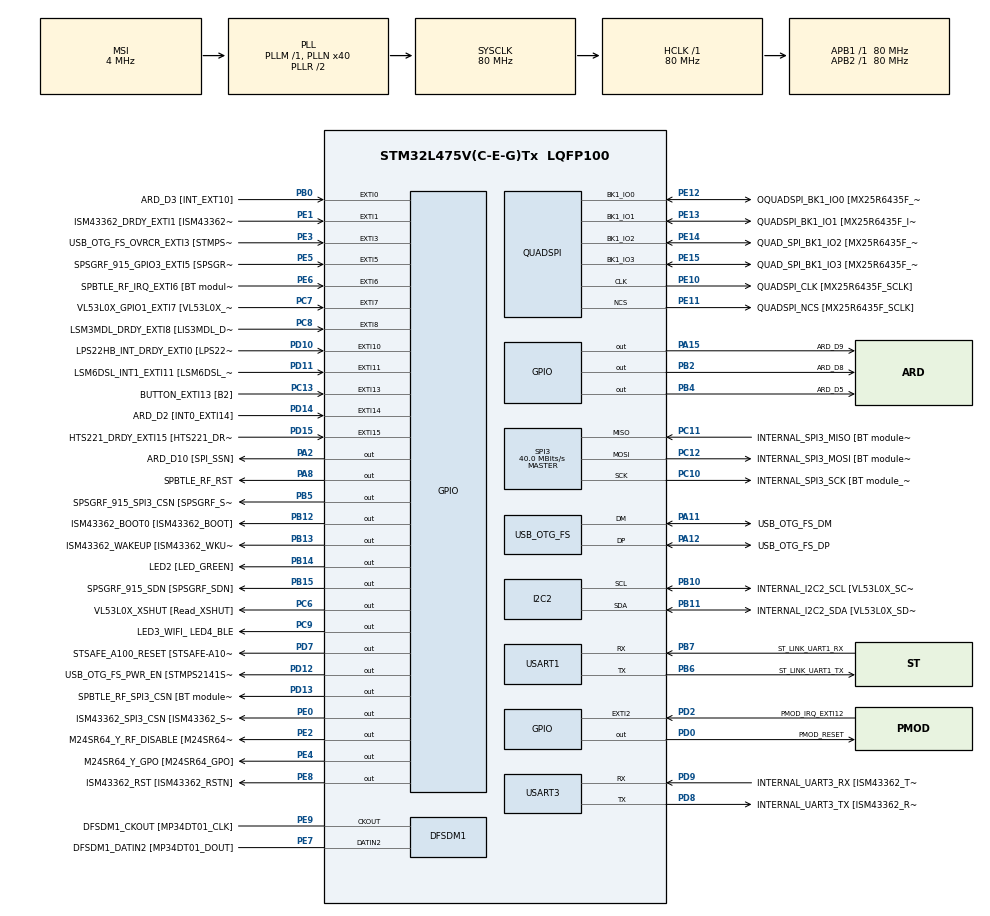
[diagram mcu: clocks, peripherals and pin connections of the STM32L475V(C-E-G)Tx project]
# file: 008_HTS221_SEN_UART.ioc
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Mcu.Family=STM32L4
Mcu.Name=STM32L475V(C-E-G)Tx
Mcu.Package=LQFP100
NVIC.EXTI15_10_IRQn=true\:0\:0\:false\:false\:true\:true\:true\:true
NVIC.EXTI9_5_IRQn=true\:0\:0\:false\:false\:true\:true\:true\:true
NVIC.PriorityGroup=NVIC_PRIORITYGROUP_4
PA0.GPIO_Label=ARD_D1 [UART4_TX]
PA0.Signal=UART4_TX
PA1.GPIO_Label=ARD_D0 [UART4_RX]
PA1.Signal=UART4_RX
PA10.GPIO_Label=USB_OTG_FS_ID
PA10.Signal=USB_OTG_FS_ID
PA11.GPIO_Label=USB_OTG_FS_DM
PA11.Mode=Device_Only
PA11.Signal=USB_OTG_FS_DM
PA12.GPIO_Label=USB_OTG_FS_DP
PA12.Mode=Device_Only
PA12.Signal=USB_OTG_FS_DP
PA13\ (JTMS-SWDIO).GPIO_Label=SYS_JTMS_SWDIO
PA13\ (JTMS-SWDIO).Mode=Serial_Wire
PA13\ (JTMS-SWDIO).Signal=SYS_JTMS-SWDIO
PA14\ (JTCK-SWCLK).GPIO_Label=SYS_JTCK_SWCLK
PA14\ (JTCK-SWCLK).Mode=Serial_Wire
PA14\ (JTCK-SWCLK).Signal=SYS_JTCK-SWCLK
PA15\ (JTDI).GPIO_Label=ARD_D9
PA15\ (JTDI).Signal=GPIO_Output
PA2.GPIO_Label=ARD_D10 [SPI_SSN]
PA2.Signal=GPIO_Output
PA3.GPIO_Label=ARD_D4
PA3.Signal=S_TIM2_CH4
PA4.GPIO_Label=ARD_D7
PA4.Signal=ADCx_IN9
PA5.GPIO_Label=ARD_D13 [SPI1_SCK]
PA5.Signal=SPI1_SCK
PA6.GPIO_Label=ARD_D12 [SPI1_MISO]
PA6.Signal=SPI1_MISO
PA7.GPIO_Label=ARD_D11 [SPI1_MOSI]
PA7.Signal=SPI1_MOSI
PA8.GPIO_Label=SPBTLE_RF_RST
PA8.Signal=GPIO_Output
PA9.GPIO_Label=USB_OTG_FS_VBUS [STMPS2141STR_OUT]
PA9.Signal=USB_OTG_FS_VBUS
PB0.GPIO_Label=ARD_D3 [INT_EXT10]
PB0.Signal=GPXTI0
PB1.GPIO_Label=ARD_D6 [ADC1_IN6]
PB1.Signal=ADCx_IN16
PB10.GPIO_Label=INTERNAL_I2C2_SCL [VL53L0X_SCL]
PB10.GPIO_Pu=GPIO_PULLUP
PB10.Mode=I2C
PB10.Signal=I2C2_SCL
PB11.GPIO_Label=INTERNAL_I2C2_SDA [VL53L0X_SDA]
PB11.GPIO_Pu=GPIO_PULLUP
PB11.Mode=I2C
PB11.Signal=I2C2_SDA
PB12.GPIO_Label=ISM43362_BOOT0 [ISM43362_BOOT]
PB12.Signal=GPIO_Output
PB13.GPIO_Label=ISM43362_WAKEUP [ISM43362_WKUP]
PB13.Signal=GPIO_Output
PB14.GPIO_Label=LED2 [LED_GREEN]
PB14.Signal=GPIO_Output
PB15.GPIO_Label=SPSGRF_915_SDN [SPSGRF_SDN]
PB15.Signal=GPIO_Output
PB2.GPIO_Label=ARD_D8
PB2.Signal=GPIO_Output
PB3\ (JTDO-TRACESWO).GPIO_Label=SYS_JTD0_SWO
PB3\ (JTDO-TRACESWO).Signal=SYS_JTDO-SWO
PB4\ (NJTRST).GPIO_Label=ARD_D5
PB4\ (NJTRST).Signal=GPIO_Output
PB5.GPIO_Label=SPSGRF_915_SPI3_CSN [SPSGRF_SPI_CS]
PB5.PinState=GPIO_PIN_SET
PB5.Signal=GPIO_Output
PB6.GPIO_Label=ST_LINK_UART1_TX
PB6.Mode=Asynchronous
PB6.Signal=USART1_TX
PB7.GPIO_Label=ST_LINK_UART1_RX
PB7.Mode=Asynchronous
PB7.Signal=USART1_RX
PB8.GPIO_Label=ARD_D15 [I2C1_SCL]
PB8.Signal=I2C1_SCL
PB9.GPIO_Label=ARD_D14 [I2C1_SDA]
PB9.Signal=I2C1_SDA
PC0.GPIO_Label=ARD_A5 [ADC]
PC0.Signal=ADCx_IN1
PC1.GPIO_Label=ARD_A4 [ADC]
PC1.Signal=ADCx_IN2
PC10.GPIO_Label=INTERNAL_SPI3_SCK [BT module_SPI_SCLK] [ISM43362_SCK]
PC10.Mode=Full_Duplex_Master
PC10.Signal=SPI3_SCK
PC11.GPIO_Label=INTERNAL_SPI3_MISO [BT module_SPI_MISO] [ISM43362_MISO]
PC11.Mode=Full_Duplex_Master
PC11.Signal=SPI3_MISO
PC12.GPIO_Label=INTERNAL_SPI3_MOSI [BT module_SPI_MOSI] [ISM43362_MOSI]
PC12.Mode=Full_Duplex_Master
PC12.Signal=SPI3_MOSI
PC13.GPIO_Label=BUTTON_EXTI13 [B2]
PC13.GPIO_ModeDefaultEXTI=GPIO_MODE_IT_FALLING
PC13.Signal=GPXTI13
PC14-OSC32_IN\ (PC14).Mode=LSE-External-Oscillator
PC14-OSC32_IN\ (PC14).Signal=RCC_OSC32_IN
PC15-OSC32_OUT\ (PC15).Mode=LSE-External-Oscillator
PC15-OSC32_OUT\ (PC15).Signal=RCC_OSC32_OUT
PC2.GPIO_Label=ARD_A3 [ADC]
PC2.Signal=ADCx_IN3
PC3.GPIO_Label=ARD_A2 [ADC]
PC3.Signal=ADCx_IN4
PC4.GPIO_Label=ARD_A1 [ADC]
PC4.Signal=ADCx_IN13
PC5.GPIO_Label=ARD_A0 [ADC]
PC5.Signal=ADCx_IN14
PC6.GPIO_Label=VL53L0X_XSHUT [Read_XSHUT]
PC6.Signal=GPIO_Output
PC7.GPIO_Label=VL53L0X_GPIO1_EXTI7 [VL53L0X_GPIO1]
PC7.Signal=GPXTI7
PC8.GPIO_Label=LSM3MDL_DRDY_EXTI8 [LIS3MDL_DRDY]
PC8.Signal=GPXTI8
PC9.GPIO_Label=LED3_WIFI_ LED4_BLE
PC9.Signal=GPIO_Output
PD0.GPIO_Label=PMOD_RESET
PD0.Signal=GPIO_Output
PD1.GPIO_Label=PMOD_SPI2_SCK
PD1.Signal=SPI2_SCK
PD10.GPIO_Label=LPS22HB_INT_DRDY_EXTI0 [LPS22HB_INT_DRDY] 
PD10.Signal=GPXTI10
PD11.GPIO_Label=LSM6DSL_INT1_EXTI11 [LSM6DSL_INT1]
PD11.Signal=GPXTI11
PD12.GPIO_Label=USB_OTG_FS_PWR_EN [STMPS2141STR_EN]
PD12.Signal=GPIO_Output
PD13.GPIO_Label=SPBTLE_RF_SPI3_CSN [BT module_SPI_CS]
PD13.PinState=GPIO_PIN_SET
PD13.Signal=GPIO_Output
PD14.GPIO_Label=ARD_D2 [INT0_EXTI14]
PD14.Signal=GPXTI14
PD15.GPIO_Label=HTS221_DRDY_EXTI15 [HTS221_DRDY]
PD15.Signal=GPXTI15
PD2.GPIO_Label=PMOD_IRQ_EXTI12
PD2.Signal=GPXTI2
PD3.GPIO_Label=PMOD_UART2_CTS
PD3.Signal=USART2_CTS
PD4.GPIO_Label=PMOD_UART2_RTS
PD4.Signal=USART2_RTS
PD5.GPIO_Label=PMOD_UART2_TX
PD5.Signal=USART2_TX
PD6.GPIO_Label=PMOD_UART2_RX
PD6.Signal=USART2_RX
PD7.GPIO_Label=STSAFE_A100_RESET [STSAFE-A100_RESET]
PD7.Signal=GPIO_Output
PD8.GPIO_Label=INTERNAL_UART3_TX [ISM43362_RX]
PD8.Mode=Asynchronous
PD8.Signal=USART3_TX
PD9.GPIO_Label=INTERNAL_UART3_RX [ISM43362_TX]
PD9.Mode=Asynchronous
PD9.Signal=USART3_RX
PE0.GPIO_Label=ISM43362_SPI3_CSN [ISM43362_SSN]
PE0.PinState=GPIO_PIN_SET
PE0.Signal=GPIO_Output
PE1.GPIO_Label=ISM43362_DRDY_EXTI1 [ISM43362_DATARDY]
PE1.Signal=GPXTI1
PE10.GPIO_Label=QUADSPI_CLK [MX25R6435F_SCLK]
PE10.Mode=Single Bank
PE10.Signal=QUADSPI_CLK
PE11.GPIO_Label=QUADSPI_NCS [MX25R6435F_SCLK]
PE11.Mode=Single Bank
PE11.Signal=QUADSPI_NCS
PE12.GPIO_Label=OQUADSPI_BK1_IO0 [MX25R6435F_IO0]
PE12.Mode=Single Bank
PE12.Signal=QUADSPI_BK1_IO0
PE13.GPIO_Label=QUADSPI_BK1_IO1 [MX25R6435F_IO1]
PE13.Mode=Single Bank
PE13.Signal=QUADSPI_BK1_IO1
PE14.GPIO_Label=QUAD_SPI_BK1_IO2 [MX25R6435F_IO2]
PE14.Mode=Single Bank
PE14.Signal=QUADSPI_BK1_IO2
PE15.GPIO_Label=QUAD_SPI_BK1_IO3 [MX25R6435F_IO3]
PE15.Mode=Single Bank
PE15.Signal=QUADSPI_BK1_IO3
PE2.GPIO_Label=M24SR64_Y_RF_DISABLE [M24SR64_RFDIS]
PE2.Signal=GPIO_Output
PE3.GPIO_Label=USB_OTG_FS_OVRCR_EXTI3 [STMPS2141STR_FAULT]
PE3.Signal=GPXTI3
PE4.GPIO_Label=M24SR64_Y_GPO [M24SR64_GPO]
PE4.Signal=GPIO_Output
PE5.GPIO_Label=SPSGRF_915_GPIO3_EXTI5 [SPSGRF_GPIO_3]
PE5.Signal=GPXTI5
PE6.GPIO_Label=SPBTLE_RF_IRQ_EXTI6 [BT module_SPI_IRQ]
PE6.Signal=GPXTI6
PE7.GPIO_Label=DFSDM1_DATIN2 [MP34DT01_DOUT]
PE7.Signal=S_DATAIN2DFSDM1
PE8.GPIO_Label=ISM43362_RST [ISM43362_RSTN]
PE8.Signal=GPIO_Output
PE9.GPIO_Label=DFSDM1_CKOUT [MP34DT01_CLK]
PE9.Signal=S_CKOUTDFSDM1
ProjectManager.HeapSize=0x200
ProjectManager.StackSize=0x400
ProjectManager.TargetToolchain=STM32CubeIDE
QUADSPI.ClockPrescaler=2
QUADSPI.FifoThreshold=4
QUADSPI.FlashSize=23
QUADSPI.SampleShifting=QSPI_SAMPLE_SHIFTING_HALFCYCLE
RCC.ADCFreq_Value=48000000
RCC.AHBFreq_Value=80000000
RCC.APB1Freq_Value=80000000
RCC.APB1TimFreq_Value=80000000
RCC.APB2Freq_Value=80000000
RCC.APB2TimFreq_Value=80000000
RCC.CortexFreq_Value=80000000
RCC.HCLKFreq_Value=80000000
RCC.HSE_VALUE=8000000
RCC.HSI_VALUE=16000000
RCC.MSI_VALUE=4000000
RCC.PLLN=40
RCC.PLLSAI1N=24
RCC.SYSCLKFreq_VALUE=80000000
RCC.SYSCLKSource=RCC_SYSCLKSOURCE_PLLCLK
RCC.USBFreq_Value=48000000
RCC.VCOOutputFreq_Value=160000000
SH.ADCx_IN1.0=ADC1_IN1
SH.ADCx_IN13.0=ADC1_IN13
SH.ADCx_IN14.0=ADC1_IN14
SH.ADCx_IN16.0=ADC1_IN16
SH.ADCx_IN2.0=ADC1_IN2
SH.ADCx_IN3.0=ADC1_IN3
SH.ADCx_IN4.0=ADC1_IN4
SH.ADCx_IN9.0=ADC1_IN9
SH.S_CKOUTDFSDM1.0=DFSDM1_CKOUT,CKOUT
SH.S_CKOUTDFSDM1.1=DFSDM1_CKOUT,PDM_SPI_Input_from_ch12_and_Internal_Clock
SH.S_DATAIN2DFSDM1.0=DFSDM1_DATIN2,PDM_SPI_Input_from_ch12_and_Internal_Clock
SH.S_TIM2_CH4.0=TIM2_CH4
SPI3.CalculateBaudRate=40.0 MBits/s
SPI3.Direction=SPI_DIRECTION_2LINES
SPI3.Mode=SPI_MODE_MASTER
SPI3.VirtualType=VM_MASTER
USART1.VirtualMode-Asynchronous=VM_ASYNC
USART3.VirtualMode-Asynchronous=VM_ASYNC
USB_OTG_FS.VirtualMode=Device_Only
board=B-L475E-IOT01A2

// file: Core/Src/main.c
/* USER CODE BEGIN Header */
// Accessing both the temperature value and Humidity value from the HTS221 sensor
/**
  ******************************************************************************
  * @file           : main.c
  * @brief          : Main program body
  ******************************************************************************
  * @attention
  *
  * Copyright (c) 2024 STMicroelectronics.
  * All rights reserved.
  *
  * This software is licensed under terms that can be found in the LICENSE file
  * in the root directory of this software component.
  * If no LICENSE file comes with this software, it is provided AS-IS.
  *
  ******************************************************************************
  */
/* USER CODE END Header */
#include "main.h"

/* USER CODE BEGIN Includes */
#include <stdio.h>
#include <math.h>
#include "stm32l475e_iot01.h"
// Humidity sensor
#include "stm32l475e_iot01_hsensor.h"
// Temperature sensor
#include "stm32l475e_iot01_tsensor.h"
/* USER CODE END Includes */

DFSDM_Channel_HandleTypeDef hdfsdm1_channel1;

I2C_HandleTypeDef hi2c2;

QSPI_HandleTypeDef hqspi;

SPI_HandleTypeDef hspi3;

UART_HandleTypeDef huart1;
UART_HandleTypeDef huart3;

PCD_HandleTypeDef hpcd_USB_OTG_FS;

/* USER CODE BEGIN PV */
uint8_t train[] = "                                          &&&&&&&&&\n\r                                        &&&\n\r                                       &&\n\r                                      &  _____ ___________\n\r                                     II__|[] | |   I I   |\n\r       @Balaji303                   |        |_|_  I I  _|\n\r                                   < OO----OOO   OO---OO\n\r**********************************************************\n\r";
float humidity_value = 0;  // Measured humidity value
float temperature_value = 0;  // Measured temperature value
char str_tmp[100] = ""; // Formatted message to display the temperature value
uint8_t msg0[] = "$$$$$$ A Project by @Balaji303 $$$$$$\n\n\r";
uint8_t msg1[] = "****** Temperature and Humidity values measurement ******\n\n\r";
uint8_t msg2[] = "=====> Initializing sensor HTS221 ...\r\n";
uint8_t msg3[] = "=====> Sensor HTS221 initialized \r\n ";
/* USER CODE END PV */

void SystemClock_Config(void);
static void MX_GPIO_Init(void);
static void MX_DFSDM1_Init(void);
static void MX_I2C2_Init(void);
static void MX_QUADSPI_Init(void);
static void MX_SPI3_Init(void);
static void MX_USART1_UART_Init(void);
static void MX_USART3_UART_Init(void);
static void MX_USB_OTG_FS_PCD_Init(void);

int main(void)
{

  /* MCU Configuration--------------------------------------------------------*/

  /* Reset of all peripherals, Initializes the Flash interface and the Systick. */
  HAL_Init();

  /* Configure the system clock */
  SystemClock_Config();

  /* Initialize all configured peripherals */
  MX_GPIO_Init();
  MX_DFSDM1_Init();
  MX_I2C2_Init();
  MX_QUADSPI_Init();
  MX_SPI3_Init();
  MX_USART1_UART_Init();
  MX_USART3_UART_Init();
  MX_USB_OTG_FS_PCD_Init();
  /* USER CODE BEGIN 2 */
  HAL_UART_Transmit(&huart1,train,sizeof(train),1000);
  HAL_Delay(100);
  HAL_UART_Transmit(&huart1,msg0,sizeof(msg0),1000);
  HAL_UART_Transmit(&huart1,msg1,sizeof(msg1),1000);
  HAL_Delay(100);
  HAL_UART_Transmit(&huart1,msg2,sizeof(msg2),1000);
  //1. Initialize temperature sensor
  BSP_TSENSOR_Init();
  //2. Initialize humidity sensor
  BSP_HSENSOR_Init();
  HAL_UART_Transmit(&huart1,msg3,sizeof(msg3),1000);
  //
  int temperatureWholeNumber = 0;
  int temperatureDecimalNumber = 0;
  float temperatureDifference_f = 0.0;
  int humidityWholeNumber = 0;
  int humidityDecimalNumber = 0;
  float humidityDifference_f = 0.0;
  /* USER CODE END 2 */

  /* Infinite loop */
  while (1)
  {
	  //3. Read Temperature value
	  temperature_value = BSP_TSENSOR_ReadTemp();
	  //4. Read Humidity value
	  humidity_value = BSP_HSENSOR_ReadHumidity();
	  // Converting a float variable into 2 integer variables for temperature
	  temperatureWholeNumber = temperature_value;
	  temperatureDifference_f = temperature_value - temperatureWholeNumber;
	  temperatureDecimalNumber = trunc(temperatureDifference_f * 100);
	  // Converting a float variable into 2 integer variables for humidity
	  humidityWholeNumber = humidity_value;
	  humidityDifference_f = humidity_value - humidityWholeNumber;
	  humidityDecimalNumber = trunc(humidityDifference_f * 100);
	  snprintf(str_tmp,100,"Temperature = %d.%02d ; Humidity = %d.%02d\n\r", temperatureWholeNumber, temperatureDecimalNumber, humidityWholeNumber, humidityDecimalNumber);
	  HAL_UART_Transmit(&huart1,( uint8_t *)str_tmp,sizeof(str_tmp),1000);
	  HAL_Delay(3000);
  }
}

void SystemClock_Config(void)
{
  RCC_OscInitTypeDef RCC_OscInitStruct = {0};
  RCC_ClkInitTypeDef RCC_ClkInitStruct = {0};

  /** Configure the main internal regulator output voltage
  */
  if (HAL_PWREx_ControlVoltageScaling(PWR_REGULATOR_VOLTAGE_SCALE1) != HAL_OK)
  {
    Error_Handler();
  }

  /** Configure LSE Drive Capability
  */
  HAL_PWR_EnableBkUpAccess();
  __HAL_RCC_LSEDRIVE_CONFIG(RCC_LSEDRIVE_LOW);

  /** Initializes the RCC Oscillators according to the specified parameters
  * in the RCC_OscInitTypeDef structure.
  */
  RCC_OscInitStruct.OscillatorType = RCC_OSCILLATORTYPE_LSE|RCC_OSCILLATORTYPE_MSI;
  RCC_OscInitStruct.LSEState = RCC_LSE_ON;
  RCC_OscInitStruct.MSIState = RCC_MSI_ON;
  RCC_OscInitStruct.MSICalibrationValue = 0;
  RCC_OscInitStruct.MSIClockRange = RCC_MSIRANGE_6;
  RCC_OscInitStruct.PLL.PLLState = RCC_PLL_ON;
  RCC_OscInitStruct.PLL.PLLSource = RCC_PLLSOURCE_MSI;
  RCC_OscInitStruct.PLL.PLLM = 1;
  RCC_OscInitStruct.PLL.PLLN = 40;
  RCC_OscInitStruct.PLL.PLLP = RCC_PLLP_DIV7;
  RCC_OscInitStruct.PLL.PLLQ = RCC_PLLQ_DIV2;
  RCC_OscInitStruct.PLL.PLLR = RCC_PLLR_DIV2;
  if (HAL_RCC_OscConfig(&RCC_OscInitStruct) != HAL_OK)
  {
    Error_Handler();
  }

  /** Initializes the CPU, AHB and APB buses clocks
  */
  RCC_ClkInitStruct.ClockType = RCC_CLOCKTYPE_HCLK|RCC_CLOCKTYPE_SYSCLK
                              |RCC_CLOCKTYPE_PCLK1|RCC_CLOCKTYPE_PCLK2;
  RCC_ClkInitStruct.SYSCLKSource = RCC_SYSCLKSOURCE_PLLCLK;
  RCC_ClkInitStruct.AHBCLKDivider = RCC_SYSCLK_DIV1;
  RCC_ClkInitStruct.APB1CLKDivider = RCC_HCLK_DIV1;
  RCC_ClkInitStruct.APB2CLKDivider = RCC_HCLK_DIV1;

  if (HAL_RCC_ClockConfig(&RCC_ClkInitStruct, FLASH_LATENCY_4) != HAL_OK)
  {
    Error_Handler();
  }

  /** Enable MSI Auto calibration
  */
  HAL_RCCEx_EnableMSIPLLMode();
}

static void MX_DFSDM1_Init(void)
{

  hdfsdm1_channel1.Instance = DFSDM1_Channel1;
  hdfsdm1_channel1.Init.OutputClock.Activation = ENABLE;
  hdfsdm1_channel1.Init.OutputClock.Selection = DFSDM_CHANNEL_OUTPUT_CLOCK_SYSTEM;
  hdfsdm1_channel1.Init.OutputClock.Divider = 2;
  hdfsdm1_channel1.Init.Input.Multiplexer = DFSDM_CHANNEL_EXTERNAL_INPUTS;
  hdfsdm1_channel1.Init.Input.DataPacking = DFSDM_CHANNEL_STANDARD_MODE;
  hdfsdm1_channel1.Init.Input.Pins = DFSDM_CHANNEL_FOLLOWING_CHANNEL_PINS;
  hdfsdm1_channel1.Init.SerialInterface.Type = DFSDM_CHANNEL_SPI_RISING;
  hdfsdm1_channel1.Init.SerialInterface.SpiClock = DFSDM_CHANNEL_SPI_CLOCK_INTERNAL;
  hdfsdm1_channel1.Init.Awd.FilterOrder = DFSDM_CHANNEL_FASTSINC_ORDER;
  hdfsdm1_channel1.Init.Awd.Oversampling = 1;
  hdfsdm1_channel1.Init.Offset = 0;
  hdfsdm1_channel1.Init.RightBitShift = 0x00;
  if (HAL_DFSDM_ChannelInit(&hdfsdm1_channel1) != HAL_OK)
  {
    Error_Handler();
  }

}

static void MX_I2C2_Init(void)
{

  hi2c2.Instance = I2C2;
  hi2c2.Init.Timing = 0x00000E14;
  hi2c2.Init.OwnAddress1 = 0;
  hi2c2.Init.AddressingMode = I2C_ADDRESSINGMODE_7BIT;
  hi2c2.Init.DualAddressMode = I2C_DUALADDRESS_DISABLE;
  hi2c2.Init.OwnAddress2 = 0;
  hi2c2.Init.OwnAddress2Masks = I2C_OA2_NOMASK;
  hi2c2.Init.GeneralCallMode = I2C_GENERALCALL_DISABLE;
  hi2c2.Init.NoStretchMode = I2C_NOSTRETCH_DISABLE;
  if (HAL_I2C_Init(&hi2c2) != HAL_OK)
  {
    Error_Handler();
  }

  /** Configure Analogue filter
  */
  if (HAL_I2CEx_ConfigAnalogFilter(&hi2c2, I2C_ANALOGFILTER_ENABLE) != HAL_OK)
  {
    Error_Handler();
  }

  /** Configure Digital filter
  */
  if (HAL_I2CEx_ConfigDigitalFilter(&hi2c2, 0) != HAL_OK)
  {
    Error_Handler();
  }

}

static void MX_QUADSPI_Init(void)
{

  /* QUADSPI parameter configuration*/
  hqspi.Instance = QUADSPI;
  hqspi.Init.ClockPrescaler = 2;
  hqspi.Init.FifoThreshold = 4;
  hqspi.Init.SampleShifting = QSPI_SAMPLE_SHIFTING_HALFCYCLE;
  hqspi.Init.FlashSize = 23;
  hqspi.Init.ChipSelectHighTime = QSPI_CS_HIGH_TIME_1_CYCLE;
  hqspi.Init.ClockMode = QSPI_CLOCK_MODE_0;
  if (HAL_QSPI_Init(&hqspi) != HAL_OK)
  {
    Error_Handler();
  }

}

static void MX_SPI3_Init(void)
{

  /* SPI3 parameter configuration*/
  hspi3.Instance = SPI3;
  hspi3.Init.Mode = SPI_MODE_MASTER;
  hspi3.Init.Direction = SPI_DIRECTION_2LINES;
  hspi3.Init.DataSize = SPI_DATASIZE_4BIT;
  hspi3.Init.CLKPolarity = SPI_POLARITY_LOW;
  hspi3.Init.CLKPhase = SPI_PHASE_1EDGE;
  hspi3.Init.NSS = SPI_NSS_SOFT;
  hspi3.Init.BaudRatePrescaler = SPI_BAUDRATEPRESCALER_2;
  hspi3.Init.FirstBit = SPI_FIRSTBIT_MSB;
  hspi3.Init.TIMode = SPI_TIMODE_DISABLE;
  hspi3.Init.CRCCalculation = SPI_CRCCALCULATION_DISABLE;
  hspi3.Init.CRCPolynomial = 7;
  hspi3.Init.CRCLength = SPI_CRC_LENGTH_DATASIZE;
  hspi3.Init.NSSPMode = SPI_NSS_PULSE_ENABLE;
  if (HAL_SPI_Init(&hspi3) != HAL_OK)
  {
    Error_Handler();
  }

}

static void MX_USART1_UART_Init(void)
{

  huart1.Instance = USART1;
  huart1.Init.BaudRate = 115200;
  huart1.Init.WordLength = UART_WORDLENGTH_8B;
  huart1.Init.StopBits = UART_STOPBITS_1;
  huart1.Init.Parity = UART_PARITY_NONE;
  huart1.Init.Mode = UART_MODE_TX_RX;
  huart1.Init.HwFlowCtl = UART_HWCONTROL_NONE;
  huart1.Init.OverSampling = UART_OVERSAMPLING_16;
  huart1.Init.OneBitSampling = UART_ONE_BIT_SAMPLE_DISABLE;
  huart1.AdvancedInit.AdvFeatureInit = UART_ADVFEATURE_NO_INIT;
  if (HAL_UART_Init(&huart1) != HAL_OK)
  {
    Error_Handler();
  }

}

static void MX_USART3_UART_Init(void)
{

  huart3.Instance = USART3;
  huart3.Init.BaudRate = 115200;
  huart3.Init.WordLength = UART_WORDLENGTH_8B;
  huart3.Init.StopBits = UART_STOPBITS_1;
  huart3.Init.Parity = UART_PARITY_NONE;
  huart3.Init.Mode = UART_MODE_TX_RX;
  huart3.Init.HwFlowCtl = UART_HWCONTROL_NONE;
  huart3.Init.OverSampling = UART_OVERSAMPLING_16;
  huart3.Init.OneBitSampling = UART_ONE_BIT_SAMPLE_DISABLE;
  huart3.AdvancedInit.AdvFeatureInit = UART_ADVFEATURE_NO_INIT;
  if (HAL_UART_Init(&huart3) != HAL_OK)
  {
    Error_Handler();
  }

}

static void MX_USB_OTG_FS_PCD_Init(void)
{

  hpcd_USB_OTG_FS.Instance = USB_OTG_FS;
  hpcd_USB_OTG_FS.Init.dev_endpoints = 6;
  hpcd_USB_OTG_FS.Init.speed = PCD_SPEED_FULL;
  hpcd_USB_OTG_FS.Init.phy_itface = PCD_PHY_EMBEDDED;
  hpcd_USB_OTG_FS.Init.Sof_enable = DISABLE;
  hpcd_USB_OTG_FS.Init.low_power_enable = DISABLE;
  hpcd_USB_OTG_FS.Init.lpm_enable = DISABLE;
  hpcd_USB_OTG_FS.Init.battery_charging_enable = DISABLE;
  hpcd_USB_OTG_FS.Init.use_dedicated_ep1 = DISABLE;
  hpcd_USB_OTG_FS.Init.vbus_sensing_enable = DISABLE;
  if (HAL_PCD_Init(&hpcd_USB_OTG_FS) != HAL_OK)
  {
    Error_Handler();
  }

}

static void MX_GPIO_Init(void)
{
  GPIO_InitTypeDef GPIO_InitStruct = {0};

  /* GPIO Ports Clock Enable */
  __HAL_RCC_GPIOE_CLK_ENABLE();
  __HAL_RCC_GPIOC_CLK_ENABLE();
  __HAL_RCC_GPIOA_CLK_ENABLE();
  __HAL_RCC_GPIOB_CLK_ENABLE();
  __HAL_RCC_GPIOD_CLK_ENABLE();

  /*Configure GPIO pin Output Level */
  HAL_GPIO_WritePin(GPIOE, M24SR64_Y_RF_DISABLE_Pin|M24SR64_Y_GPO_Pin|ISM43362_RST_Pin, GPIO_PIN_RESET);

  /*Configure GPIO pin Output Level */
  HAL_GPIO_WritePin(GPIOA, ARD_D10_Pin|SPBTLE_RF_RST_Pin|ARD_D9_Pin, GPIO_PIN_RESET);

  /*Configure GPIO pin Output Level */
  HAL_GPIO_WritePin(GPIOB, ARD_D8_Pin|ISM43362_BOOT0_Pin|ISM43362_WAKEUP_Pin|LED2_Pin
                          |SPSGRF_915_SDN_Pin|ARD_D5_Pin, GPIO_PIN_RESET);

  /*Configure GPIO pin Output Level */
  HAL_GPIO_WritePin(GPIOD, USB_OTG_FS_PWR_EN_Pin|PMOD_RESET_Pin|STSAFE_A100_RESET_Pin, GPIO_PIN_RESET);

  /*Configure GPIO pin Output Level */
  HAL_GPIO_WritePin(SPBTLE_RF_SPI3_CSN_GPIO_Port, SPBTLE_RF_SPI3_CSN_Pin, GPIO_PIN_SET);

  /*Configure GPIO pin Output Level */
  HAL_GPIO_WritePin(GPIOC, VL53L0X_XSHUT_Pin|LED3_WIFI__LED4_BLE_Pin, GPIO_PIN_RESET);

  /*Configure GPIO pin Output Level */
  HAL_GPIO_WritePin(SPSGRF_915_SPI3_CSN_GPIO_Port, SPSGRF_915_SPI3_CSN_Pin, GPIO_PIN_SET);

  /*Configure GPIO pin Output Level */
  HAL_GPIO_WritePin(ISM43362_SPI3_CSN_GPIO_Port, ISM43362_SPI3_CSN_Pin, GPIO_PIN_SET);

  /*Configure GPIO pins : M24SR64_Y_RF_DISABLE_Pin M24SR64_Y_GPO_Pin ISM43362_RST_Pin ISM43362_SPI3_CSN_Pin */
  GPIO_InitStruct.Pin = M24SR64_Y_RF_DISABLE_Pin|M24SR64_Y_GPO_Pin|ISM43362_RST_Pin|ISM43362_SPI3_CSN_Pin;
  GPIO_InitStruct.Mode = GPIO_MODE_OUTPUT_PP;
  GPIO_InitStruct.Pull = GPIO_NOPULL;
  GPIO_InitStruct.Speed = GPIO_SPEED_FREQ_LOW;
  HAL_GPIO_Init(GPIOE, &GPIO_InitStruct);

  /*Configure GPIO pins : USB_OTG_FS_OVRCR_EXTI3_Pin SPSGRF_915_GPIO3_EXTI5_Pin SPBTLE_RF_IRQ_EXTI6_Pin ISM43362_DRDY_EXTI1_Pin */
  GPIO_InitStruct.Pin = USB_OTG_FS_OVRCR_EXTI3_Pin|SPSGRF_915_GPIO3_EXTI5_Pin|SPBTLE_RF_IRQ_EXTI6_Pin|ISM43362_DRDY_EXTI1_Pin;
  GPIO_InitStruct.Mode = GPIO_MODE_IT_RISING;
  GPIO_InitStruct.Pull = GPIO_NOPULL;
  HAL_GPIO_Init(GPIOE, &GPIO_InitStruct);

  /*Configure GPIO pin : BUTTON_EXTI13_Pin */
  GPIO_InitStruct.Pin = BUTTON_EXTI13_Pin;
  GPIO_InitStruct.Mode = GPIO_MODE_IT_FALLING;
  GPIO_InitStruct.Pull = GPIO_NOPULL;
  HAL_GPIO_Init(BUTTON_EXTI13_GPIO_Port, &GPIO_InitStruct);

  /*Configure GPIO pins : ARD_A5_Pin ARD_A4_Pin ARD_A3_Pin ARD_A2_Pin
                           ARD_A1_Pin ARD_A0_Pin */
  GPIO_InitStruct.Pin = ARD_A5_Pin|ARD_A4_Pin|ARD_A3_Pin|ARD_A2_Pin
                          |ARD_A1_Pin|ARD_A0_Pin;
  GPIO_InitStruct.Mode = GPIO_MODE_ANALOG_ADC_CONTROL;
  GPIO_InitStruct.Pull = GPIO_NOPULL;
  HAL_GPIO_Init(GPIOC, &GPIO_InitStruct);

  /*Configure GPIO pins : ARD_D1_Pin ARD_D0_Pin */
  GPIO_InitStruct.Pin = ARD_D1_Pin|ARD_D0_Pin;
  GPIO_InitStruct.Mode = GPIO_MODE_AF_PP;
  GPIO_InitStruct.Pull = GPIO_NOPULL;
  GPIO_InitStruct.Speed = GPIO_SPEED_FREQ_VERY_HIGH;
  GPIO_InitStruct.Alternate = GPIO_AF8_UART4;
  HAL_GPIO_Init(GPIOA, &GPIO_InitStruct);

  /*Configure GPIO pins : ARD_D10_Pin SPBTLE_RF_RST_Pin ARD_D9_Pin */
  GPIO_InitStruct.Pin = ARD_D10_Pin|SPBTLE_RF_RST_Pin|ARD_D9_Pin;
  GPIO_InitStruct.Mode = GPIO_MODE_OUTPUT_PP;
  GPIO_InitStruct.Pull = GPIO_NOPULL;
  GPIO_InitStruct.Speed = GPIO_SPEED_FREQ_LOW;
  HAL_GPIO_Init(GPIOA, &GPIO_InitStruct);

  /*Configure GPIO pin : ARD_D4_Pin */
  GPIO_InitStruct.Pin = ARD_D4_Pin;
  GPIO_InitStruct.Mode = GPIO_MODE_AF_PP;
  GPIO_InitStruct.Pull = GPIO_NOPULL;
  GPIO_InitStruct.Speed = GPIO_SPEED_FREQ_LOW;
  GPIO_InitStruct.Alternate = GPIO_AF1_TIM2;
  HAL_GPIO_Init(ARD_D4_GPIO_Port, &GPIO_InitStruct);

  /*Configure GPIO pin : ARD_D7_Pin */
  GPIO_InitStruct.Pin = ARD_D7_Pin;
  GPIO_InitStruct.Mode = GPIO_MODE_ANALOG_ADC_CONTROL;
  GPIO_InitStruct.Pull = GPIO_NOPULL;
  HAL_GPIO_Init(ARD_D7_GPIO_Port, &GPIO_InitStruct);

  /*Configure GPIO pins : ARD_D13_Pin ARD_D12_Pin ARD_D11_Pin */
  GPIO_InitStruct.Pin = ARD_D13_Pin|ARD_D12_Pin|ARD_D11_Pin;
  GPIO_InitStruct.Mode = GPIO_MODE_AF_PP;
  GPIO_InitStruct.Pull = GPIO_NOPULL;
  GPIO_InitStruct.Speed = GPIO_SPEED_FREQ_VERY_HIGH;
  GPIO_InitStruct.Alternate = GPIO_AF5_SPI1;
  HAL_GPIO_Init(GPIOA, &GPIO_InitStruct);

  /*Configure GPIO pin : ARD_D3_Pin */
  GPIO_InitStruct.Pin = ARD_D3_Pin;
  GPIO_InitStruct.Mode = GPIO_MODE_IT_RISING;
  GPIO_InitStruct.Pull = GPIO_NOPULL;
  HAL_GPIO_Init(ARD_D3_GPIO_Port, &GPIO_InitStruct);

  /*Configure GPIO pin : ARD_D6_Pin */
  GPIO_InitStruct.Pin = ARD_D6_Pin;
  GPIO_InitStruct.Mode = GPIO_MODE_ANALOG_ADC_CONTROL;
  GPIO_InitStruct.Pull = GPIO_NOPULL;
  HAL_GPIO_Init(ARD_D6_GPIO_Port, &GPIO_InitStruct);

  /*Configure GPIO pins : ARD_D8_Pin ISM43362_BOOT0_Pin ISM43362_WAKEUP_Pin LED2_Pin
                           SPSGRF_915_SDN_Pin ARD_D5_Pin SPSGRF_915_SPI3_CSN_Pin */
  GPIO_InitStruct.Pin = ARD_D8_Pin|ISM43362_BOOT0_Pin|ISM43362_WAKEUP_Pin|LED2_Pin
                          |SPSGRF_915_SDN_Pin|ARD_D5_Pin|SPSGRF_915_SPI3_CSN_Pin;
  GPIO_InitStruct.Mode = GPIO_MODE_OUTPUT_PP;
  GPIO_InitStruct.Pull = GPIO_NOPULL;
  GPIO_InitStruct.Speed = GPIO_SPEED_FREQ_LOW;
  HAL_GPIO_Init(GPIOB, &GPIO_InitStruct);

  /*Configure GPIO pins : LPS22HB_INT_DRDY_EXTI0_Pin LSM6DSL_INT1_EXTI11_Pin ARD_D2_Pin HTS221_DRDY_EXTI15_Pin
                           PMOD_IRQ_EXTI12_Pin */
  GPIO_InitStruct.Pin = LPS22HB_INT_DRDY_EXTI0_Pin|LSM6DSL_INT1_EXTI11_Pin|ARD_D2_Pin|HTS221_DRDY_EXTI15_Pin
                          |PMOD_IRQ_EXTI12_Pin;
  GPIO_InitStruct.Mode = GPIO_MODE_IT_RISING;
  GPIO_InitStruct.Pull = GPIO_NOPULL;
  HAL_GPIO_Init(GPIOD, &GPIO_InitStruct);

  /*Configure GPIO pins : USB_OTG_FS_PWR_EN_Pin SPBTLE_RF_SPI3_CSN_Pin PMOD_RESET_Pin STSAFE_A100_RESET_Pin */
  GPIO_InitStruct.Pin = USB_OTG_FS_PWR_EN_Pin|SPBTLE_RF_SPI3_CSN_Pin|PMOD_RESET_Pin|STSAFE_A100_RESET_Pin;
  GPIO_InitStruct.Mode = GPIO_MODE_OUTPUT_PP;
  GPIO_InitStruct.Pull = GPIO_NOPULL;
  GPIO_InitStruct.Speed = GPIO_SPEED_FREQ_LOW;
  HAL_GPIO_Init(GPIOD, &GPIO_InitStruct);

  /*Configure GPIO pins : VL53L0X_XSHUT_Pin LED3_WIFI__LED4_BLE_Pin */
  GPIO_InitStruct.Pin = VL53L0X_XSHUT_Pin|LED3_WIFI__LED4_BLE_Pin;
  GPIO_InitStruct.Mode = GPIO_MODE_OUTPUT_PP;
  GPIO_InitStruct.Pull = GPIO_NOPULL;
  GPIO_InitStruct.Speed = GPIO_SPEED_FREQ_LOW;
  HAL_GPIO_Init(GPIOC, &GPIO_InitStruct);

  /*Configure GPIO pins : VL53L0X_GPIO1_EXTI7_Pin LSM3MDL_DRDY_EXTI8_Pin */
  GPIO_InitStruct.Pin = VL53L0X_GPIO1_EXTI7_Pin|LSM3MDL_DRDY_EXTI8_Pin;
  GPIO_InitStruct.Mode = GPIO_MODE_IT_RISING;
  GPIO_InitStruct.Pull = GPIO_NOPULL;
  HAL_GPIO_Init(GPIOC, &GPIO_InitStruct);

  /*Configure GPIO pin : PMOD_SPI2_SCK_Pin */
  GPIO_InitStruct.Pin = PMOD_SPI2_SCK_Pin;
  GPIO_InitStruct.Mode = GPIO_MODE_AF_PP;
  GPIO_InitStruct.Pull = GPIO_NOPULL;
  GPIO_InitStruct.Speed = GPIO_SPEED_FREQ_VERY_HIGH;
  GPIO_InitStruct.Alternate = GPIO_AF5_SPI2;
  HAL_GPIO_Init(PMOD_SPI2_SCK_GPIO_Port, &GPIO_InitStruct);

  /*Configure GPIO pins : PMOD_UART2_CTS_Pin PMOD_UART2_RTS_Pin PMOD_UART2_TX_Pin PMOD_UART2_RX_Pin */
  GPIO_InitStruct.Pin = PMOD_UART2_CTS_Pin|PMOD_UART2_RTS_Pin|PMOD_UART2_TX_Pin|PMOD_UART2_RX_Pin;
  GPIO_InitStruct.Mode = GPIO_MODE_AF_PP;
  GPIO_InitStruct.Pull = GPIO_NOPULL;
  GPIO_InitStruct.Speed = GPIO_SPEED_FREQ_VERY_HIGH;
  GPIO_InitStruct.Alternate = GPIO_AF7_USART2;
  HAL_GPIO_Init(GPIOD, &GPIO_InitStruct);

  /*Configure GPIO pins : ARD_D15_Pin ARD_D14_Pin */
  GPIO_InitStruct.Pin = ARD_D15_Pin|ARD_D14_Pin;
  GPIO_InitStruct.Mode = GPIO_MODE_AF_OD;
  GPIO_InitStruct.Pull = GPIO_NOPULL;
  GPIO_InitStruct.Speed = GPIO_SPEED_FREQ_VERY_HIGH;
  GPIO_InitStruct.Alternate = GPIO_AF4_I2C1;
  HAL_GPIO_Init(GPIOB, &GPIO_InitStruct);

  /* EXTI interrupt init*/
  HAL_NVIC_SetPriority(EXTI9_5_IRQn, 0, 0);
  HAL_NVIC_EnableIRQ(EXTI9_5_IRQn);

  HAL_NVIC_SetPriority(EXTI15_10_IRQn, 0, 0);
  HAL_NVIC_EnableIRQ(EXTI15_10_IRQn);

}

void Error_Handler(void)
{
  __disable_irq();
  while (1)
  {
  }
}
